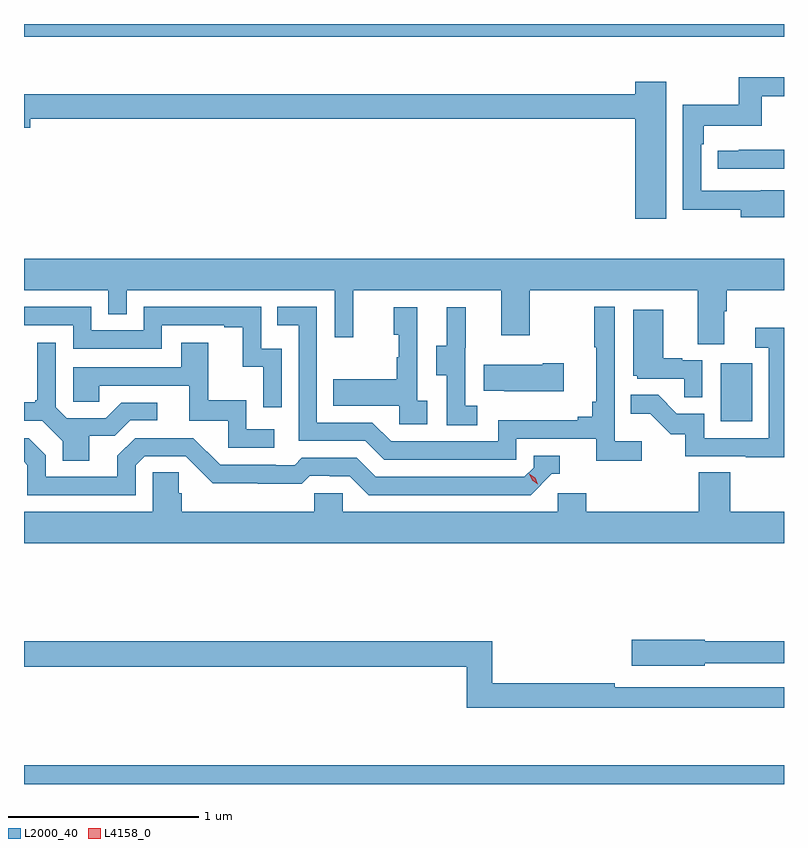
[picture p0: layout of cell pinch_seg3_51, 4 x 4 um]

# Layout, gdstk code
import gdstk
lib = gdstk.Library(unit=1e-6, precision=1e-09)
def R(c, l, rs):  # rectangles x0, y0, x1, y1
    for r in rs: c.add(gdstk.rectangle(r[:2], r[2:], *l))
def P(c, l, *ps):  # polygons
    for p in ps: c.add(gdstk.Polygon(p, *l))
L2000_40 = (2000, 40)
L4158_0 = (4158, 0)

pinch_seg3_51 = lib.new_cell('pinch_seg3_51')
R(pinch_seg3_51, L2000_40, [(1054.8,734.28,1058.8,734.38), (1058.468,736.188,1058.632,736.495), (1054.8,738.212,1058.8,738.28)])
P(pinch_seg3_51, L2000_40, [(1058.8,737.404),(1058.677,737.404),(1058.677,737.403),(1058.364,737.403),(1058.364,737.648),(1058.378,737.648),(1058.378,737.744),(1058.683,737.744),(1058.683,737.899),(1058.8,737.899),(1058.8,738),(1058.562,738),(1058.562,737.854),(1058.268,737.854),(1058.268,737.302),(1058.573,737.302),(1058.573,737.264),(1058.8,737.264)],
  [(1058.179,737.977),(1058.018,737.977),(1058.018,737.911),(1054.8,737.911),(1054.8,737.735),(1054.834,737.735),(1054.834,737.782),(1058.018,737.782),(1058.018,737.256),(1058.179,737.256)],
  [(1058.8,737.618),(1058.563,737.618),(1058.563,737.613),(1058.451,737.613),(1058.451,737.517),(1058.8,737.517)],
  [(1058.485,736.768),(1058.498,736.768),(1058.498,736.88),(1058.8,736.88),(1058.8,737.044),(1054.8,737.044),(1054.8,736.88),(1055.244,736.88),(1055.244,736.753),(1055.34,736.753),(1055.34,736.88),(1056.435,736.88),(1056.435,736.632),(1056.533,736.632),(1056.533,736.88),(1057.313,736.88),(1057.313,736.641),(1057.461,736.641),(1057.461,736.88),(1058.345,736.88),(1058.345,736.594),(1058.485,736.594)],
  [(1058.05,736.084),(1057.908,736.084),(1057.908,736.792),(1057.8,736.792),(1057.8,736.579),(1057.811,736.579),(1057.811,736.291),(1057.792,736.291),(1057.792,736.214),(1057.715,736.214),(1057.715,736.195),(1057.296,736.195),(1057.296,736.083),(1056.732,736.083),(1056.633,736.182),(1056.342,736.182),(1056.342,736.791),(1056.133,736.791),(1056.133,736.695),(1056.246,736.695),(1056.246,736.086),(1056.596,736.086),(1056.695,735.987),(1057.392,735.987),(1057.392,736.098),(1057.811,736.098),(1057.811,735.982),(1058.05,735.982)],
  [(1056.156,736.572),(1056.048,736.572),(1056.048,736.791),(1055.43,736.791),(1055.43,736.668),(1055.154,736.668),(1055.154,736.791),(1054.8,736.791),(1054.8,736.695),(1055.058,736.695),(1055.058,736.572),(1055.526,736.572),(1055.526,736.695),(1055.855,736.695),(1055.855,736.683),(1055.951,736.683),(1055.951,736.475),(1056.06,736.475),(1056.06,736.263),(1056.156,736.263)],
  [(1057.186,736.271),(1057.122,736.271),(1057.122,736.575),(1057.124,736.575),(1057.124,736.789),(1057.025,736.789),(1057.025,736.587),(1056.971,736.587),(1056.971,736.432),(1057.026,736.432),(1057.026,736.168),(1057.186,736.168)],
  [(1056.922,736.298),(1056.87,736.298),(1056.87,736.789),(1056.746,736.789),(1056.746,736.644),(1056.772,736.644),(1056.772,736.526),(1056.762,736.526),(1056.762,736.411),(1056.427,736.411),(1056.427,736.271),(1056.774,736.271),(1056.774,736.173),(1056.922,736.173)],
  [(1058.37,736.509),(1058.264,736.509),(1058.264,736.522),(1058.164,736.522),(1058.164,736.777),(1058.006,736.777),(1058.006,736.428),(1058.028,736.428),(1058.028,736.413),(1058.275,736.413),(1058.275,736.315),(1058.37,736.315)],
  [(1058.8,736.681),(1058.649,736.681),(1058.649,736.575),(1058.721,736.575),(1058.721,736.101),(1058.379,736.101),(1058.379,736.23),(1058.235,736.23),(1058.137,736.328),(1057.993,736.328),(1057.993,736.229),(1058.097,736.229),(1058.204,736.122),(1058.281,736.122),(1058.281,736.005),(1058.599,736.005),(1058.599,736),(1058.8,736)],
  [(1055.143,736.114),(1055.278,736.114),(1055.358,736.194),(1055.5,736.194),(1055.5,736.287),(1055.312,736.287),(1055.231,736.206),(1055.025,736.206),(1054.968,736.263),(1054.968,736.603),(1054.871,736.603),(1054.871,736.3),(1054.86,736.3),(1054.86,736.288),(1054.8,736.288),(1054.8,736.191),(1054.896,736.191),(1055.003,736.084),(1055.003,735.982),(1055.143,735.982)],
  [(1056.118,736.146),(1055.97,736.146),(1055.97,736.3),(1055.771,736.3),(1055.771,736.603),(1055.627,736.603),(1055.627,736.473),(1055.058,736.473),(1055.058,736.293),(1055.195,736.293),(1055.195,736.377),(1055.669,736.377),(1055.669,736.191),(1055.874,736.191),(1055.874,736.05),(1056.118,736.05)],
  [(1057.642,736.494),(1057.529,736.494),(1057.529,736.486),(1057.219,736.486),(1057.219,736.349),(1057.327,736.349),(1057.327,736.346),(1057.642,736.346)],
  [(1055.388,735.957),(1055.436,736.005),(1055.652,736.005),(1055.794,735.863),(1056.03,735.863),(1056.03,735.861),(1056.263,735.861),(1056.305,735.903),(1056.408,735.903),(1056.408,735.9),(1056.515,735.9),(1056.614,735.801),(1057.467,735.801),(1057.578,735.912),(1057.621,735.912),(1057.621,736.008),(1057.482,736.008),(1057.482,735.945),(1057.434,735.897),(1056.651,735.897),(1056.552,735.996),(1056.263,735.996),(1056.224,735.957),(1056.125,735.957),(1056.125,735.96),(1055.832,735.96),(1055.691,736.101),(1055.385,736.101),(1055.291,736.007),(1055.291,735.897),(1054.914,735.897),(1054.914,736.011),(1054.824,736.101),(1054.8,736.101),(1054.8,735.975),(1054.818,735.957),(1054.818,735.801),(1055.388,735.801)],
  [(1058.8,735.712),(1058.516,735.712),(1058.516,735.92),(1058.351,735.92),(1058.351,735.712),(1057.76,735.712),(1057.76,735.81),(1057.608,735.81),(1057.608,735.712),(1056.477,735.712),(1056.477,735.81),(1056.327,735.81),(1056.327,735.712),(1055.63,735.712),(1055.63,735.81),(1055.615,735.81),(1055.615,735.92),(1055.478,735.92),(1055.478,735.712),(1054.8,735.712),(1054.8,735.548),(1058.8,735.548)],
  [(1058.382,734.916),(1058.8,734.916),(1058.8,735.032),(1058.382,735.032),(1058.382,735.038),(1057.998,735.038),(1057.998,734.903),(1058.382,734.903)],
  [(1058.8,734.79),(1057.91,734.79),(1057.91,734.81),(1057.265,734.81),(1057.265,735.032),(1054.8,735.032),(1054.8,734.896),(1057.129,734.896),(1057.129,734.682),(1058.8,734.682)])
P(pinch_seg3_51, L4158_0, [(1057.504,735.858),(1057.474,735.879),(1057.459,735.912),(1057.459,735.912),(1057.46,735.912),(1057.49,735.892),(1057.504,735.858),(1057.504,735.858)])

lib.write_gds('pinch_seg3_51.gds')
